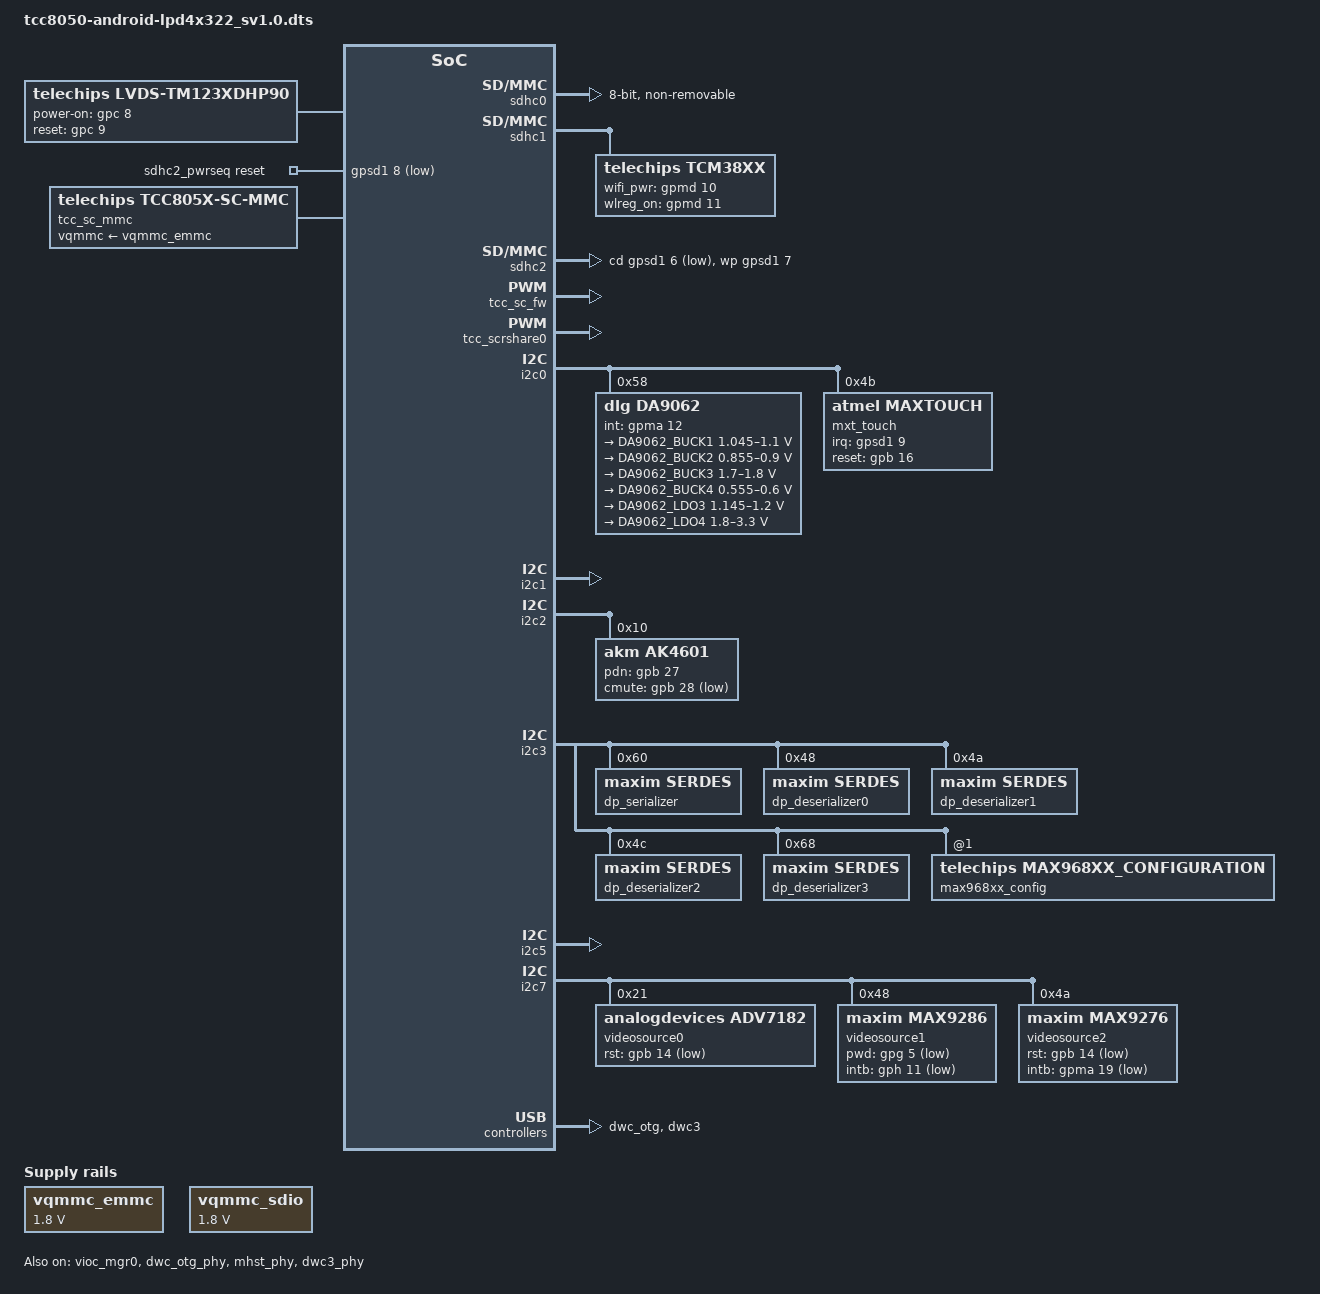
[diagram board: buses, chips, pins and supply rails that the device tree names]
// SPDX-License-Identifier: (GPL-2.0-or-later OR MIT)
/*
 * Copyright (C) Telechips Inc.
 * Device tree for Telechips TCC8050 AVN board
 */

#ifndef DT_OVERLAY
/dts-v1/;
#endif

#include "tcc8050-android-avn.dtsi"
#include "tcc8050-android-avn-display.dtsi"

/ {
	/* Describe here after remove this statement if you have something to be override. */
	tm123xdhp90 {
		compatible = "telechips,lvds-tm123xdhp90";
		status = "okay";
		lvds0 = <&lvds_phy>;
		power-on-gpios = <&gpc 8 0>;   // LCD_ON
		reset-gpios = <&gpc 9 0>;    // LCD_RST
		/*
			 display-on-gpios = ;    // LCD_DISP
			 lvds-stby-gpios = ;   // LCD_DE = LVDS_STBY in LVDS
			 lvds-power-gpios = ;    // LVDS_EN
			 lvds-power-gpios1 = ;   // V_5V0_EN
		 */
		mode = <1>;   /* 0: single 1: dual */
		ports = <2 3>;
		mux-select = <2>;
	};

	vqmmc_emmc: vqmmc_emmc {
		compatible = "regulator-fixed";
		regulator-name = "vqmmc_emmc";
		regulator-min-microvolt = <1800000>;
		regulator-max-microvolt = <1800000>;
		regulator-always-on;
	};

	sdhc2_pwrseq: sdhc2_pwrseq {
		compatible = "mmc-pwrseq-simple";
		reset-gpios = <&gpsd1 8 GPIO_ACTIVE_LOW>;
	};

	vqmmc_sdio: vqmmc_sdio {
		compatible = "regulator-fixed";
		regulator-name = "vqmmc_sdio";
		regulator-min-microvolt = <1800000>;
		regulator-max-microvolt = <1800000>;
		regulator-always-on;
	};

	tcc_sc_mmc: tcc_sc_mmc {
		compatible = "telechips,tcc805x-sc-mmc";
		status = "okay";

		max-frequency = <200000000>;
		bus-width = <8>;

		sc-firmware = <&tcc_sc_fw>;

		no-sdio;
		no-sd;
		non-removable;
		keep-power-in-suspend;
		disable-wp;

		mmc-hs400-1_8v;
		vqmmc-supply = <&vqmmc_emmc>;
	};

	tcc_sc_ufs: tcc_sc_ufs {
		compatible = "telechips,tcc805x-sc-ufs";
		status = "okay";
		sc-firmware = <&tcc_sc_fw>;
	};
};

/* eMMC */
&sdhc0 {
	bus-width = <8>;
	pinctrl-names = "default";
	pinctrl-0 = <&sd0_clk &sd0_cmd &sd0_bus8 &sd0_strb>;

	sdhci-caps-mask = <0x7 0x0>;

	non-removable;
	keep-power-in-suspend;
	disable-wp;
	cap-mmc-hw-reset;

	mmc-hs400-1_8v;
	mmc-hs400-enhanced-strobe;
	tcc-mmc-taps = <0xF 0xF 0xF 0xF>;
	tcc-mmc-hs400-pos-tap = <0x6>;
	tcc-mmc-hs400-neg-tap = <0xB>;

	tcc-mmc-reset = <&gpsd0 14 0>;

	vqmmc-supply = <&vqmmc_emmc>;
};

&sd0_clk {
	telechips,no-pull;
};

&sd0_cmd {
	telechips,no-pull;
};

&sd0_bus8 {
	telechips,no-pull;
};

/* SDIO */
&sdhc1 {
	status = "okay";
	pinctrl-names = "default";
	pinctrl-0 = <&sd1_clk &sd1_cmd &sd1_bus4 &out0_clk>;

	keep-power-in-suspend;
	cap-sdio-irq;

	vqmmc-supply = <&vqmmc_sdio>;

	cd-force-presence-change;

	tcm38xx {
		compatible = "telechips,tcm38xx";
		wifi_pwr-gpio = <&gpmd 10 0>; /* BT_WIFI_VBAT_EN */
		wlreg_on-gpio = <&gpmd 11 0>; /* WIFI_REG_ON */
		//wifi_pwr_1p8v-gpio = <&gpsd1 6 0>;
		//wifi_pwr_3p3v-gpio = <&gpsd1 7 0>;
	};
};

&sd1_clk {
	telechips,pull-up;
};

&sd1_cmd {
	telechips,pull-up;
};

&sd1_bus4 {
	telechips,pull-up;
};

/* SD slot */
&sdhc2 {
#ifdef CONFIG_MMC_SDHCI_TCC_MODULE_ONLY
	/*
	 * In order to reduce boot time,
	 * we use the driver as module not built-in.
	 */
	compatible = "telechips,tcc805x-sdhci,module-only";
#endif
	status = "okay";
	pinctrl-names = "default";
	pinctrl-0 = <&sd2_clk &sd2_cmd &sd2_bus4 &sd1_bus4_wp_cd &sd1_pwr>;

	broken-cd;
	cd-inverted;
	keep-power-in-suspend;

	wp-gpios = <&gpsd1 7 0>;
	cd-gpios = <&gpsd1 6 0>;

	mmc-pwrseq = <&sdhc2_pwrseq>;
	vqmmc-supply = <&DA9062_LDO4>;
};

&sd2_clk {
	telechips,no-pull;
};

&sd2_cmd {
	telechips,no-pull;
};

&sd2_bus4 {
	telechips,no-pull;
};

&a72_sc_mbox {
	status = "okay";
};

&tcc_sc_fw {
	status = "okay";
	mboxes = <&a72_sc_mbox 0>;
};

&tcc_scrshare0{
        status = "okay";
};

&vioc_mgr0 {
        status = "okay";
};

&rotary_encoder0 {
	compatible = "rotary-encoder";
	status = "disable";                  //To use it, change the status from disable to okay
	//pinctrl-names = "default";
	//pinctrl-0 = <&mc_vol>;			//Set gpio to match device
										//Interruptable gpio should be used
	//gpios = <&gpma 5 1>, <&gpma 6 1>;	//Set gpio to match device
										//Interruptable gpio should be used
	linux,axis = <0>;
	rotary-encoder,relative-axis;
};

&rotary_encoder1 {
	compatible = "rotary-encoder";
	status = "disable";                 //To use it, change the status from disable to okay
	//pinctrl-names = "default";
	//pinctrl-0 = <&mc_ctr>;			//Set gpio to match device
										//Interruptable gpio should be used
	//gpios = <&gpma 7 1>, <&gpma 8 1>; //Set gpio to match device
										//Interruptable gpio should be used
	linux,axis = <0>;
	rotary-encoder,relative-axis;
};


&i2c0 {
	status = "okay";
	port-mux = <6>;
	pinctrl-names = "default";
	pinctrl-0 = <&i2c6_bus>;

	/* pmic da9062 */
	da9062: pmic@58 {
		compatible = "dlg,da9062";
		reg = <0x58>;
		int-gpios = <&gpma 12 0>;

		da9062_gpio: gpio {
			compatible = "dlg,da9062-gpio";
			gpio-controller;
			#gpio-cells = <2>;
		};

		regulators {
			DA9062_BUCK1: buck1 {
				regulator-name = "memq_1p1";
				regulator-min-microvolt = <1045000>;
				regulator-max-microvolt = <1100000>;
				regulator-always-on;
				regulator-boot-on;
			};

			DA9062_BUCK2: buck2 {
				regulator-name = "cpu_0p9v";
				regulator-min-microvolt = <855000>;
				regulator-max-microvolt = <900000>;
				regulator-always-on;
				regulator-boot-on;
			};

			DA9062_BUCK3: buck3 {
				regulator-name = "io_1p8";
				regulator-min-microvolt = <1700000>;
				regulator-max-microvolt = <1800000>;
				regulator-always-on;
				regulator-boot-on;
			};

			DA9062_BUCK4: buck4 {
				regulator-name = "memq_0p6";
				regulator-min-microvolt = <555000>;
				regulator-max-microvolt = <600000>;
				regulator-always-on;
				regulator-boot-on;
			};
#if 0
			/* Temp block for LDO2. Block min-microvolt of LDO2 */
			DA9062_LDO2: ldo2 {
				regulator-name = "mem_1p8";
				regulator-min-microvolt = <1700000>;
				regulator-max-microvolt = <1800000>;
				regulator-always-on;
				regulator-boot-on;
			};
#endif
			DA9062_LDO3: ldo3 {
				regulator-name = "mipi_1p2";
				regulator-min-microvolt = <1145000>;
				regulator-max-microvolt = <1200000>;
				regulator-always-on;
				regulator-boot-on;
			};

			DA9062_LDO4: ldo4 {
				regulator-name = "sdio_pwr";
				regulator-min-microvolt = <1800000>;
				regulator-max-microvolt = <3300000>;
				regulator-always-on;
				regulator-boot-on;
			};
		};
	}; /* pmic da9062 */

	mxt_touch@4b {
		compatible = "atmel,maxtouch";
		status = "okay";
		reg = <0x4b>;
		pinctrl-names = "default";
		pinctrl-0 = <&tsc0_default>;
		irq-gpios = <&gpsd1 9 0x0>;
		reset-gpios = <&gpb 16 0x0>;
	};
};

&i2c1 {
	status = "okay";
	port-mux = <22>; /* [0]SCL [1]SDA */
	pinctrl-names = "default";
	pinctrl-0 = <&i2c22_bus>;
};

&i2c2 {
	status = "okay";
	port-mux = <13>; /* [0]SCL [1]SDA */
	pinctrl-names = "default";
	pinctrl-0 = <&i2c13_bus>;
	ak4601: ak4601@10 {
		compatible = "akm,ak4601";
		ak4601,pdn-gpio = <&gpb 27 0>;
		cmute-gpios = <&gpb 28 1>;     //CODEC_MUTE    0: active high, 1: active low
		//amute-gpios = <&gpmb 27 1>;       //AMP_MUTE      0: active high, 1: active low
		//stanby-gpios = <&gpmb 26 0>;     //AMP_STBY      0: active high, 1: active low
		reg = <0x10>;
	};
};

&i2c3 {
	status = "okay";
	port-mux = <11>; /* [0]SCL [1]SDA */
	pinctrl-names = "default";
	pinctrl-0 = <&i2c11_bus>;

	dp_serializer:max96851@60 {
		compatible	= "maxim,serdes";
		reg		= <0x60>;
	};

	dp_deserializer0:max96878@48 {
		compatible	= "maxim,serdes";
		reg		= <0x48>;
	};

	dp_deserializer1:max96878@4A {
		compatible	= "maxim,serdes";
		reg		= <0x4A>;
	};

	dp_deserializer2:max96878@4C {
		compatible	= "maxim,serdes";
		reg		= <0x4C>;
	};

	dp_deserializer3:max96878@68 {
		compatible	= "maxim,serdes";
		reg		= <0x68>;
	};

	max968xx_config:max968xx_config@1{
		compatible = "telechips,max968xx_configuration";
		max968xx_evb_type = <2>; /* 0: TCC8059 EVB, 1: TCC8050/3 sv0.1, 2:TCC8050/3 sv1.0 */
		max96851_lane_02_13_swap = <1>;

		pinctrl-names = "default", "default";
		pinctrl-0 = <&serdes_intb_sv10>;
		pinctrl-1 = <&serdes_lock>;
	};
};

&i2c5 {
	status = "okay";
	port-mux = <37>; /* [0]SCL [1]SDA */
	pinctrl-names = "default";
	pinctrl-0 = <&i2c37_bus>;

	mxt_touch@4d {
		compatible = "atmel,maxtouch";
		status = "disabled";
		reg = <0x4d>;
		pinctrl-names = "default";
		pinctrl-0 = <&tsc1_default>;
		irq-gpios = <&gpmc 19 0x0>;
		reset-gpios = <&gpmc 22 0x0>;
	};

	mxt_touch@4f {
		compatible = "atmel,maxtouch";
		status = "disabled";
		reg = <0x4f>;
		pinctrl-names = "default";
		pinctrl-0 = <&tsc2_default>;
		irq-gpios = <&gpmc 18 0x0>;
		reset-gpios = <&gpmc 24 0x0>;
	};
};

&i2c7 {
	status = "okay";
	port-mux = <12>; /* [0]SCL [1]SDA */
	pinctrl-names = "default";
	pinctrl-0 = <&i2c12_bus>;

	videosource0: videodecoder_adv7182 {
		compatible	= "analogdevices,adv7182";
		pinctrl-names	= "idle", "active";
		cifport		= <0>;
		pinctrl-0	= <&cam0_8bit_idle>;
		pinctrl-1	= <&cam0_clk &cam0_data_8bit>;
		rst-gpios	= <&gpb 14 1>;
		reg		= <0x21>;	// 0x42 >> 1
	};

	videosource1: deserializer_max9286 {
		compatible	= "maxim,max9286";
		cifport		= <5>;
		pwd-gpios	= <&gpg 5 1>;
		intb-gpios	= <&gph 11 1>;
		reg		= <0x48>;	// 0x90 >> 1
		mipi-csi2-idx   = <0>;
	};

	videosource2: deserializer_max9276 {
		compatible	= "maxim,max9276";
		pinctrl-names	= "idle", "active";
		cifport		= <0>;
		pinctrl-0	= <&cam0_16bit_idle>;
		pinctrl-1	= <&cam0_clk &cam0_hsync &cam0_vsync &cam0_fld &cam0_data_16bit>;
		rst-gpios	= <&gpb 14 1>;
		intb-gpios	= <&gpma 19 1>;
		reg		= <0x4A>;	// 0x94 >> 1
	};
};

&tcc_pm_fw {
	pmic = <&da9062>;
};

/* USB 2.0 Host */
&ehci_phy {
	status = "disabled";
	vbus-ctrl-able;
	vbus-gpio = <&gpmd 15 0>; /* 0 : GPIO_ACTIVE_HIGH, 1 : GPIO_ACTIVE_LOW */
};

&ehci {
	status = "disabled";
	hcd_id = <0>;
	phy-type = <1>; /* 0 : Nano PHY, 1 : Pico PHY */
	TXVRT = <0xB>;
	TXRISET = <0x3>;
	TXAT = <0x1>;
};

&ohci {
	status = "disabled";
};

/* USB 2.0 DRD */
&dwc_otg_phy {
	status = "okay";
	vbus-ctrl-able;
	vbus-gpio = <&gpmd 14 0>; /* 0 : GPIO_ACTIVE_HIGH, 1 : GPIO_ACTIVE_LOW */
};

&mhst_phy {
	status = "okay";
};

&dwc_otg {
	status = "okay";
	phy-type = <1>; /* 0 : Nano PHY, 1 : Pico PHY */
};

/* USB 3.0 DRD */
&dwc3_phy {
	status = "okay";
	vbus-ctrl-able;
	vbus-gpio = <&gpmd 16 0>; /* 0 : GPIO_ACTIVE_HIGH, 1 : GPIO_ACTIVE_LOW */
};

&dwc3 {
	status = "okay";
};
